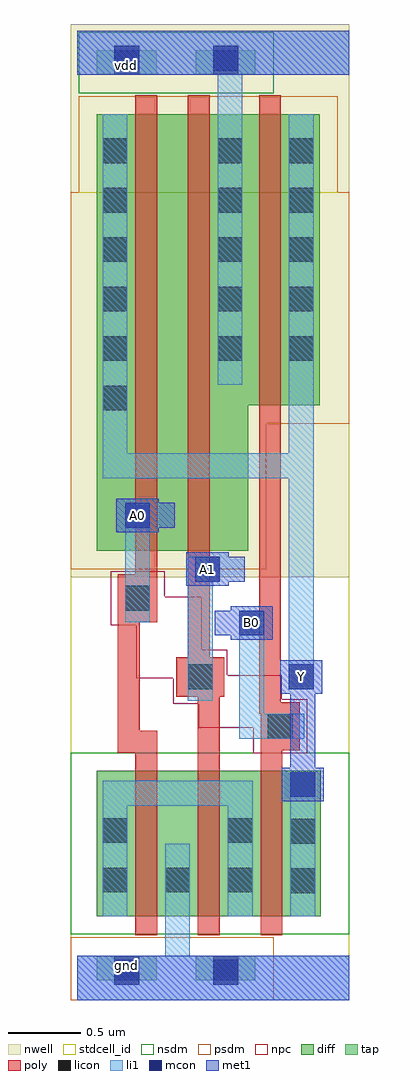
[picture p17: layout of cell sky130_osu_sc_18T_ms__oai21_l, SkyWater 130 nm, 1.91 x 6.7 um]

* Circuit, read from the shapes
.subckt sky130_osu_sc_18T_ms__oai21_l A0 A1 B0 Y gnd vdd
XM1 gnd A0 n1 gnd sky130_fd_pr__nfet_01v8 w=1 l=0.15
XM2 n1 A1 gnd gnd sky130_fd_pr__nfet_01v8 w=1 l=0.15
XM3 Y B0 n1 gnd sky130_fd_pr__nfet_01v8 w=1 l=0.15
XM4 n2 A0 Y vdd sky130_fd_pr__pfet_01v8 w=3 l=0.15
XM5 vdd A1 n2 vdd sky130_fd_pr__pfet_01v8 w=3 l=0.15
XM6 Y B0 vdd vdd sky130_fd_pr__pfet_01v8 w=2 l=0.15
.ends

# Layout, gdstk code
import gdstk
lib = gdstk.Library(unit=1e-6, precision=1e-09)
def R(c, l, rs):  # rectangles x0, y0, x1, y1
    for r in rs: c.add(gdstk.rectangle(r[:2], r[2:], *l))
def A(c, l, x, y, w, h, nx, ny, dx, dy):  # array of equal rectangles
    R(c, l, [(x+i*dx, y+j*dy, x+i*dx+w, y+j*dy+h) for i in range(nx) for j in range(ny)])
nwell = (64, 20)
diff = (65, 20)
tap = (65, 44)
poly = (66, 20)
licon = (66, 44)
li1 = (67, 20)
mcon = (67, 44)
met1 = (68, 20)
stdcell_id = (81, 4)
nsdm = (93, 44)
psdm = (94, 20)
npc = (95, 20)

sky130_osu_sc_18t_ms__oa = lib.new_cell('sky130_osu_sc_18T_ms__oai21_l')
R(sky130_osu_sc_18t_ms__oa, nwell, [(-0.045,2.905,1.87,6.705)])
R(sky130_osu_sc_18t_ms__oa, diff, [(0.135,0.575,1.675,1.575), (0.135,3.085,1.175,4.085), (0.135,4.085,1.665,6.085)])
R(sky130_osu_sc_18t_ms__oa, tap, [(0.135,0.135,0.545,0.305), (0.815,0.135,1.225,0.305), (0.135,6.355,0.545,6.525), (0.815,6.355,1.225,6.525)])
R(sky130_osu_sc_18t_ms__oa, poly, [(0.4,0.445,0.55,1.7), (0.83,0.445,0.98,2.085), (1.26,0.445,1.41,1.715), (0.28,1.7,0.55,1.85), (1.26,1.715,1.53,1.965), (0.28,1.85,0.43,2.595), (1.25,1.965,1.53,2.045), (1.25,2.045,1.4,6.215), (0.68,2.085,1.01,2.355), (0.76,2.355,0.91,6.215), (0.28,2.595,0.55,2.925), (0.4,2.925,0.55,6.215)])
A(sky130_osu_sc_18t_ms__oa, licon, 0.175, 0.74, 0.17, 0.17, 3, 1, 0.43, 0)
A(sky130_osu_sc_18t_ms__oa, licon, 0.175, 4.05, 0.17, 0.17, 1, 6, 0, 0.34)
A(sky130_osu_sc_18t_ms__oa, licon, 0.965, 4.39, 0.17, 0.17, 1, 5, 0, 0.34)
A(sky130_osu_sc_18t_ms__oa, licon, 1.455, 4.39, 0.17, 0.17, 1, 5, 0, 0.34)
R(sky130_osu_sc_18t_ms__oa, licon, [(0.255,0.135,0.425,0.305), (0.935,0.135,1.105,0.305), (1.465,0.735,1.635,0.905), (1.465,1.075,1.635,1.245), (0.175,1.08,0.345,1.25), (1.035,1.08,1.205,1.25), (1.31,1.795,1.48,1.965), (0.76,2.135,0.93,2.305), (0.33,2.675,0.5,2.845), (0.255,6.355,0.425,6.525), (0.935,6.355,1.105,6.525)])
R(sky130_osu_sc_18t_ms__oa, li1, [(0,0,1.87,0.305), (0.605,0.305,0.775,1.075), (0.175,0.575,0.345,1.335), (1.035,0.575,1.205,1.335), (1.465,0.575,1.635,1.565), (0.175,1.335,1.205,1.505), (1.115,1.795,1.56,1.965), (1.115,1.965,1.285,2.675), (0.76,2.055,0.93,2.875), (1.455,2.135,1.625,3.585), (0.33,2.595,0.5,3.415), (0.76,2.875,0.98,3.045), (0.175,3.585,1.625,3.755), (0.175,3.755,0.345,6.085), (1.455,3.755,1.625,6.085), (0.965,4.225,1.135,6.355), (0,6.355,1.87,6.66)])
R(sky130_osu_sc_18t_ms__oa, mcon, [(0.255,0.105,0.425,0.275), (0.935,0.105,1.105,0.275), (1.465,1.395,1.635,1.565), (1.455,2.135,1.625,2.305), (1.115,2.505,1.285,2.675), (0.81,2.875,0.98,3.045), (0.33,3.245,0.5,3.415), (0.255,6.385,0.425,6.555), (0.935,6.385,1.105,6.555)])
R(sky130_osu_sc_18t_ms__oa, met1, [(0,0,1.87,0.305), (1.405,1.365,1.695,1.595), (1.465,1.595,1.635,2.105), (1.395,2.105,1.685,2.335), (1.055,2.475,1.345,2.505), (0.945,2.505,1.345,2.675), (1.055,2.675,1.345,2.705), (0.75,2.845,1.04,2.875), (0.75,2.875,1.15,3.045), (0.75,3.045,1.04,3.075), (0.27,3.215,0.56,3.245), (0.27,3.245,0.67,3.415), (0.27,3.415,0.56,3.445), (0,6.355,1.87,6.66)])
R(sky130_osu_sc_18t_ms__oa, stdcell_id, [(-0.045,0,1.87,5.55)])
R(sky130_osu_sc_18t_ms__oa, nsdm, [(-0.045,0.45,1.87,1.7), (0.01,6.23,1.35,6.65)])
R(sky130_osu_sc_18t_ms__oa, psdm, [(-0.045,0,1.35,0.43), (-0.045,2.96,1.3,3.96), (-0.045,3.96,1.87,5.55), (0.01,5.55,1.79,6.21)])
R(sky130_osu_sc_18t_ms__oa, npc, [(1.21,1.695,1.58,1.87), (0.835,1.87,1.58,2.035), (0.66,2.035,1.58,2.065), (0.66,2.065,1.405,2.21), (0.405,2.21,1.405,2.23), (0.405,2.23,1.03,2.405), (0.405,2.405,0.855,2.575), (0.23,2.575,0.855,2.77), (0.23,2.77,0.6,2.945)])
sky130_osu_sc_18t_ms__oa.add(gdstk.Label('gnd', (0.34,0.24), layer=68, texttype=16))
sky130_osu_sc_18t_ms__oa.add(gdstk.Label('vdd', (0.34,6.42), layer=68, texttype=16))
sky130_osu_sc_18t_ms__oa.add(gdstk.Label('A0', (0.415,3.33), layer=68, texttype=5))
sky130_osu_sc_18t_ms__oa.add(gdstk.Label('A1', (0.895,2.96), layer=68, texttype=5))
sky130_osu_sc_18t_ms__oa.add(gdstk.Label('Y', (1.54,2.22), layer=68, texttype=5))
sky130_osu_sc_18t_ms__oa.add(gdstk.Label('B0', (1.2,2.59), layer=68, texttype=5))

lib.write_gds('sky130_osu_sc_18T_ms__oai21_l.gds')
